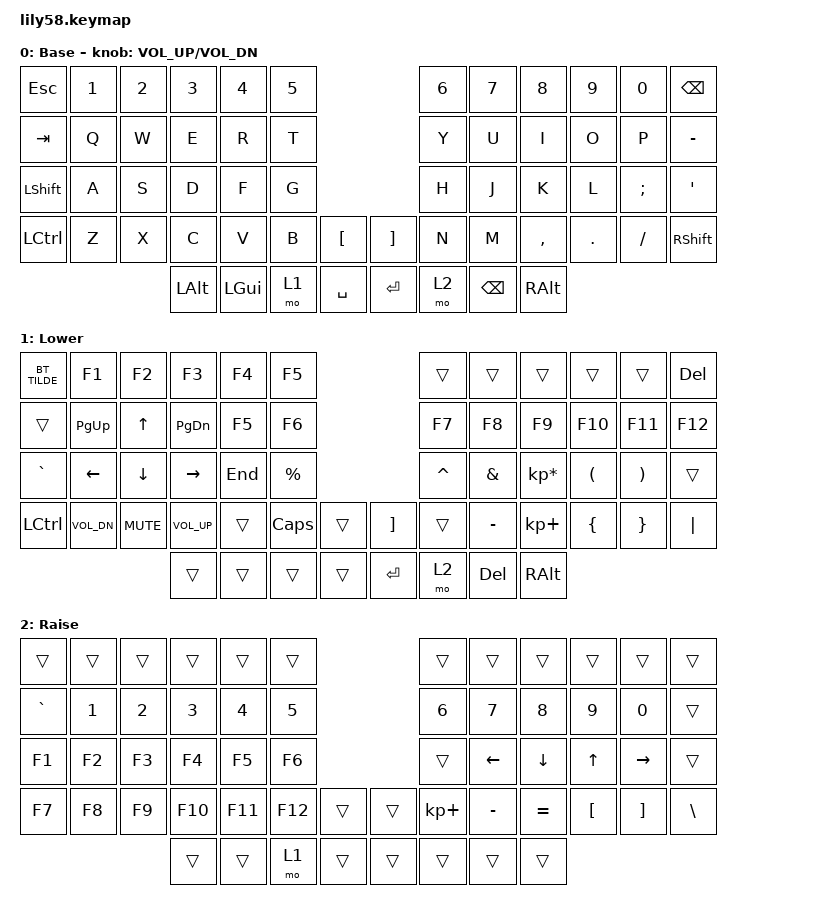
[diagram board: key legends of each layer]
#include <behaviors.dtsi>
#include <dt-bindings/zmk/keys.h>
#include <dt-bindings/zmk/bt.h>
#include <dt-bindings/led/led.h>
#include <dt-bindings/zmk/ext_power.h>
#include <dt-bindings/zmk/outputs.h>

/ {
	keymap {
		compatible = "zmk,keymap";

        default_layer {
// ------------------------------------------------------------------------------------------------------------
// |  ESC  |  1  |  2  |  3   |  4   |  5   |                   |  6   |  7    |  8    |  9   |   0   |   `   |
// |  TAB  |  Q  |  W  |  E   |  R   |  T   |                   |  Y   |  U    |  I    |  O   |   P   |   -   |
// |  CTRL |  A  |  S  |  D   |  F   |  G   |                   |  H   |  J    |  K    |  L   |   ;   |   '   |
// | SHIFT |  Z  |  X  |  C   |  V   |  B   |   "["  |  |  "]"  |  N   |  M    |  ,    |  .   |   /   | SHIFT |
//                     | ALT  | GUI  | LOWER|  SPACE |  | ENTER | RAISE| BSPC  | GUI   |
            display-name = "Base";
            bindings = <
&kp ESC     &kp N1          &kp N2            &kp N3            &kp N4      &kp N5                              &kp N6      &kp N7      &kp N8          &kp N9     &kp N0    &kp BSPC
&kp TAB     &kp Q           &kp W             &kp E             &kp R       &kp T                               &kp Y       &kp U       &kp I           &kp O      &kp P     &kp MINUS
&kp LSHFT   &kp A           &kp S             &kp D             &kp F       &kp G                               &kp H       &kp J       &kp K           &kp L      &kp SEMI  &kp SQT
&kp LCTRL   &kp Z           &kp X             &kp C             &kp V       &kp B      &kp LBKT     &kp RBKT    &kp N       &kp M       &kp COMMA       &kp DOT    &kp FSLH  &kp RSHFT
                                              &kp LALT          &kp LGUI    &mo 1      &kp SPACE    &kp RET     &mo 2       &kp BSPC    &kp RALT
            >;
            sensor-bindings = <&inc_dec_kp C_VOL_UP C_VOL_DN>;
        };

        lower_layer {
// ------------------------------------------------------------------------------------------------------------
// | BTCLR | BT1 | BT2 |  BT3 |  BT4 |  EP |                   |      |       |       |      |       |       |
// |  F1   |  F2 |  F3 |  F4  |  F5  |  F6  |                   |  F7  |  F8   |  F9   |  F10 |  F11  |  F12  |
// |   `   |  !  |  @  |  #   |  $   |  %   |                   |  ^   |  &    |  *    |  (   |   )   |   ~   |
// |       |     |     |      |      |      |        |  |       |      |  _    |  +    |  {   |   }   |  "|"  |
//                     |      |      |      |        |  |       |      |       |       |
            display-name = "Lower";
            bindings = <
&bt TILDE  &kp F1           &kp F2            &kp F3            &kp F4      &kp F5                              &trans      &trans      &trans          &trans    &trans    &kp DEL
&trans     &kp PG_UP        &kp UP            &kp PG_DN         &kp F5      &kp F6                              &kp F7      &kp F8      &kp F9          &kp F10   &kp F11   &kp F12
&kp GRAVE  &kp LEFT         &kp DOWN          &kp RIGHT         &kp END     &kp PRCNT                           &kp CARET   &kp AMPS    &kp KP_MULTIPLY &kp LPAR  &kp RPAR  &trans
&kp LCTRL  &kp C_VOL_DN     &kp K_MUTE        &kp C_VOL_UP      &trans      &kp CAPS    &trans      &kp RBKT    &trans      &kp MINUS   &kp KP_PLUS     &kp LBRC  &kp RBRC  &kp PIPE
                                              &trans            &trans      &trans      &trans      &kp RET     &mo 2       &kp DEL     &kp RALT
            >;
        };

        raise_layer {
// ------------------------------------------------------------------------------------------------------------
// |       |     |     |      |      |      |                   |      |       |       |      |       |       |
// |   `   |  1  |  2  |  3   |  4   |  5   |                   |  6   |   7   |   8   |  9   |   0   |       |
// |   F1  |  F2 |  F3 |  F4  |  F5  |  F6  |                   |      |   <-  |   v   |  ^   |  ->   |       |
// |   F7  |  F8 |  F9 |  F10 |  F11 |  F12 |        |  |       |  +   |   -   |   =   |  [   |   ]   |   \   |
//                     |      |      |      |        |  |       |      |       |       |
            display-name = "Raise";
            bindings = <
&trans      &trans         &trans           &trans              &trans      &trans                              &trans      &trans      &trans          &trans   &trans    &trans
&kp GRAVE   &kp N1         &kp N2           &kp N3              &kp N4      &kp N5                              &kp N6      &kp N7      &kp N8          &kp N9   &kp N0    &trans
&kp F1      &kp F2         &kp F3           &kp F4              &kp F5      &kp F6                              &trans      &kp LEFT    &kp DOWN        &kp UP   &kp RIGHT &trans
&kp F7      &kp F8         &kp F9           &kp F10             &kp F11     &kp F12     &trans      &trans      &kp KP_PLUS &kp MINUS   &kp EQUAL       &kp LBKT &kp RBKT  &kp BSLH
                                            &trans              &trans      &mo 1       &trans      &trans      &trans      &trans      &trans
            >;
        };
    };
};
